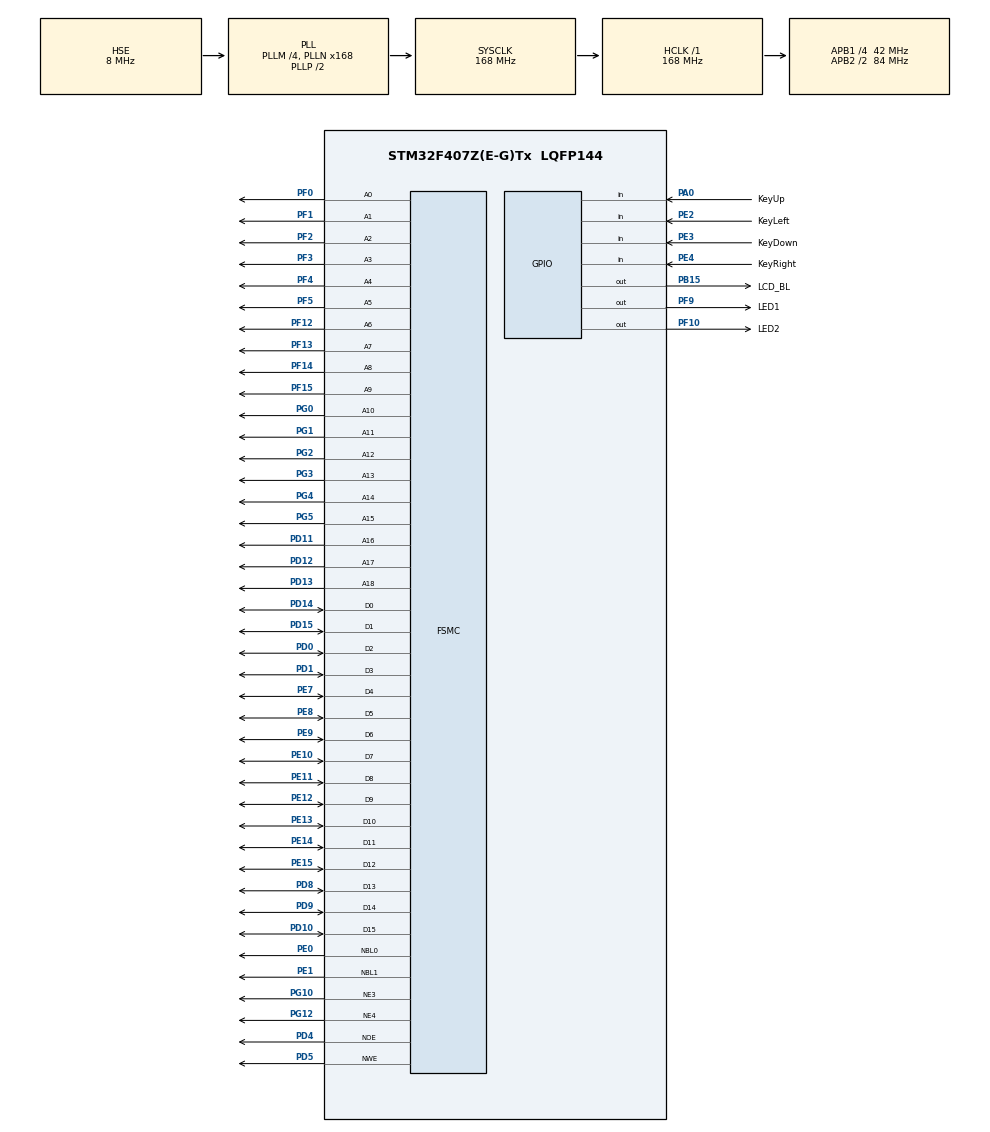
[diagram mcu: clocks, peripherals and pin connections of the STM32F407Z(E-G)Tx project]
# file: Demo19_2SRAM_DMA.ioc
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Dma.MEMTOMEM.0.Direction=DMA_MEMORY_TO_MEMORY
Dma.MEMTOMEM.0.FIFOMode=DMA_FIFOMODE_ENABLE
Dma.MEMTOMEM.0.FIFOThreshold=DMA_FIFO_THRESHOLD_FULL
Dma.MEMTOMEM.0.Instance=DMA2_Stream2
Dma.MEMTOMEM.0.MemBurst=DMA_MBURST_SINGLE
Dma.MEMTOMEM.0.MemDataAlignment=DMA_MDATAALIGN_WORD
Dma.MEMTOMEM.0.MemInc=DMA_MINC_ENABLE
Dma.MEMTOMEM.0.Mode=DMA_NORMAL
Dma.MEMTOMEM.0.PeriphBurst=DMA_PBURST_SINGLE
Dma.MEMTOMEM.0.PeriphDataAlignment=DMA_PDATAALIGN_WORD
Dma.MEMTOMEM.0.PeriphInc=DMA_PINC_ENABLE
Dma.MEMTOMEM.0.Priority=DMA_PRIORITY_HIGH
Dma.Request0=MEMTOMEM
FSMC.AddressSetupTime3=0
FSMC.AddressSetupTime4=2
FSMC.BusTurnAroundDuration3=0
FSMC.BusTurnAroundDuration4=0
FSMC.DataSetupTime3=8
FSMC.DataSetupTime4=16
FSMC.ExtendedAddressSetupTime4=4
FSMC.ExtendedBusTurnAroundDuration4=0
FSMC.ExtendedDataSetupTime4=9
FSMC.ExtendedMode4=FSMC_EXTENDED_MODE_ENABLE
FSMC.WriteOperation3=FSMC_WRITE_OPERATION_ENABLE
Mcu.Family=STM32F4
Mcu.Name=STM32F407Z(E-G)Tx
Mcu.Package=LQFP144
NVIC.DMA2_Stream2_IRQn=true\:1\:0\:true\:false\:true\:true\:true\:true
NVIC.PriorityGroup=NVIC_PRIORITYGROUP_4
PA0-WKUP.GPIO_Label=KeyUp
PA0-WKUP.GPIO_PuPd=GPIO_PULLDOWN
PA0-WKUP.Signal=GPIO_Input
PA13.Mode=Serial_Wire
PA13.Signal=SYS_JTMS-SWDIO
PA14.Mode=Serial_Wire
PA14.Signal=SYS_JTCK-SWCLK
PB15.GPIO_Label=LCD_BL
PB15.PinState=GPIO_PIN_RESET
PB15.Signal=GPIO_Output
PD0.Signal=FSMC_D2_DA2
PD1.Signal=FSMC_D3_DA3
PD10.Signal=FSMC_D15_DA15
PD11.Signal=FSMC_A16_CLE
PD12.Signal=FSMC_A17_ALE
PD13.Signal=FSMC_A18
PD14.Signal=FSMC_D0_DA0
PD15.Signal=FSMC_D1_DA1
PD4.Signal=FSMC_NOE
PD5.Signal=FSMC_NWE
PD8.Signal=FSMC_D13_DA13
PD9.Signal=FSMC_D14_DA14
PE0.Signal=FSMC_NBL0
PE1.Signal=FSMC_NBL1
PE10.Signal=FSMC_D7_DA7
PE11.Signal=FSMC_D8_DA8
PE12.Signal=FSMC_D9_DA9
PE13.Signal=FSMC_D10_DA10
PE14.Signal=FSMC_D11_DA11
PE15.Signal=FSMC_D12_DA12
PE2.GPIO_Label=KeyLeft
PE2.GPIO_PuPd=GPIO_PULLUP
PE2.Signal=GPIO_Input
PE3.GPIO_Label=KeyDown
PE3.GPIO_PuPd=GPIO_PULLUP
PE3.Signal=GPIO_Input
PE4.GPIO_Label=KeyRight
PE4.GPIO_PuPd=GPIO_PULLUP
PE4.Signal=GPIO_Input
PE7.Signal=FSMC_D4_DA4
PE8.Signal=FSMC_D5_DA5
PE9.Signal=FSMC_D6_DA6
PF0.Signal=FSMC_A0
PF1.Signal=FSMC_A1
PF10.GPIO_Label=LED2
PF10.PinState=GPIO_PIN_SET
PF10.Signal=GPIO_Output
PF12.Signal=FSMC_A6
PF13.Signal=FSMC_A7
PF14.Signal=FSMC_A8
PF15.Signal=FSMC_A9
PF2.Signal=FSMC_A2
PF3.Signal=FSMC_A3
PF4.Signal=FSMC_A4
PF5.Signal=FSMC_A5
PF9.GPIO_Label=LED1
PF9.PinState=GPIO_PIN_SET
PF9.Signal=GPIO_Output
PG0.Signal=FSMC_A10
PG1.Signal=FSMC_A11
PG10.Mode=NorPsramChipSelect3_3
PG10.Signal=FSMC_NE3
PG12.Mode=NorPsramChipSelect4_4
PG12.Signal=FSMC_NE4
PG2.Signal=FSMC_A12
PG3.Signal=FSMC_A13
PG4.Signal=FSMC_A14
PG5.Signal=FSMC_A15
PH0-OSC_IN.Mode=HSE-External-Oscillator
PH0-OSC_IN.Signal=RCC_OSC_IN
PH1-OSC_OUT.Mode=HSE-External-Oscillator
PH1-OSC_OUT.Signal=RCC_OSC_OUT
ProjectManager.HeapSize=0x200
ProjectManager.StackSize=0x400
ProjectManager.TargetToolchain=STM32CubeIDE
RCC.48MHZClocksFreq_Value=48000000
RCC.AHBFreq_Value=168000000
RCC.APB1CLKDivider=RCC_HCLK_DIV4
RCC.APB1Freq_Value=42000000
RCC.APB1TimFreq_Value=84000000
RCC.APB2CLKDivider=RCC_HCLK_DIV2
RCC.APB2Freq_Value=84000000
RCC.APB2TimFreq_Value=168000000
RCC.CortexFreq_Value=168000000
RCC.FLatency=FLASH_LATENCY_5
RCC.HCLKFreq_Value=168000000
RCC.HSE_VALUE=8000000
RCC.HSI_VALUE=16000000
RCC.LSE_VALUE=32768
RCC.PLLM=4
RCC.PLLN=168
RCC.PLLQ=7
RCC.PLLSourceVirtual=RCC_PLLSOURCE_HSE
RCC.SYSCLKFreq_VALUE=168000000
RCC.SYSCLKSource=RCC_SYSCLKSOURCE_PLLCLK
RCC.VCOOutputFreq_Value=336000000
SH.FSMC_A0.0=FSMC_A0,19b-a3
SH.FSMC_A1.0=FSMC_A1,19b-a3
SH.FSMC_A10.0=FSMC_A10,19b-a3
SH.FSMC_A11.0=FSMC_A11,19b-a3
SH.FSMC_A12.0=FSMC_A12,19b-a3
SH.FSMC_A13.0=FSMC_A13,19b-a3
SH.FSMC_A14.0=FSMC_A14,19b-a3
SH.FSMC_A15.0=FSMC_A15,19b-a3
SH.FSMC_A16_CLE.0=FSMC_A16,19b-a3
SH.FSMC_A17_ALE.0=FSMC_A17,19b-a3
SH.FSMC_A18.0=FSMC_A18,19b-a3
SH.FSMC_A2.0=FSMC_A2,19b-a3
SH.FSMC_A3.0=FSMC_A3,19b-a3
SH.FSMC_A4.0=FSMC_A4,19b-a3
SH.FSMC_A5.0=FSMC_A5,19b-a3
SH.FSMC_A6.0=FSMC_A6,A6_4
SH.FSMC_A6.1=FSMC_A6,19b-a3
SH.FSMC_A7.0=FSMC_A7,19b-a3
SH.FSMC_A8.0=FSMC_A8,19b-a3
SH.FSMC_A9.0=FSMC_A9,19b-a3
SH.FSMC_D0_DA0.0=FSMC_D0,16b-d4
SH.FSMC_D0_DA0.1=FSMC_D0,16b-d3
SH.FSMC_D10_DA10.0=FSMC_D10,16b-d4
SH.FSMC_D10_DA10.1=FSMC_D10,16b-d3
SH.FSMC_D11_DA11.0=FSMC_D11,16b-d4
SH.FSMC_D11_DA11.1=FSMC_D11,16b-d3
SH.FSMC_D12_DA12.0=FSMC_D12,16b-d4
SH.FSMC_D12_DA12.1=FSMC_D12,16b-d3
SH.FSMC_D13_DA13.0=FSMC_D13,16b-d4
SH.FSMC_D13_DA13.1=FSMC_D13,16b-d3
SH.FSMC_D14_DA14.0=FSMC_D14,16b-d4
SH.FSMC_D14_DA14.1=FSMC_D14,16b-d3
SH.FSMC_D15_DA15.0=FSMC_D15,16b-d4
SH.FSMC_D15_DA15.1=FSMC_D15,16b-d3
SH.FSMC_D1_DA1.0=FSMC_D1,16b-d4
SH.FSMC_D1_DA1.1=FSMC_D1,16b-d3
SH.FSMC_D2_DA2.0=FSMC_D2,16b-d4
SH.FSMC_D2_DA2.1=FSMC_D2,16b-d3
SH.FSMC_D3_DA3.0=FSMC_D3,16b-d4
SH.FSMC_D3_DA3.1=FSMC_D3,16b-d3
SH.FSMC_D4_DA4.0=FSMC_D4,16b-d4
SH.FSMC_D4_DA4.1=FSMC_D4,16b-d3
SH.FSMC_D5_DA5.0=FSMC_D5,16b-d4
SH.FSMC_D5_DA5.1=FSMC_D5,16b-d3
SH.FSMC_D6_DA6.0=FSMC_D6,16b-d4
SH.FSMC_D6_DA6.1=FSMC_D6,16b-d3
SH.FSMC_D7_DA7.0=FSMC_D7,16b-d4
SH.FSMC_D7_DA7.1=FSMC_D7,16b-d3
SH.FSMC_D8_DA8.0=FSMC_D8,16b-d4
SH.FSMC_D8_DA8.1=FSMC_D8,16b-d3
SH.FSMC_D9_DA9.0=FSMC_D9,16b-d4
SH.FSMC_D9_DA9.1=FSMC_D9,16b-d3
SH.FSMC_NBL0.0=FSMC_NBL0,2ByteEnable3
SH.FSMC_NBL1.0=FSMC_NBL1,2ByteEnable3
SH.FSMC_NOE.0=FSMC_NOE,Lcd4
SH.FSMC_NOE.1=FSMC_NOE,Sram3
SH.FSMC_NWE.0=FSMC_NWE,Lcd4
SH.FSMC_NWE.1=FSMC_NWE,Sram3
board=custom

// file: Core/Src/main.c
/* USER CODE BEGIN Header */
/**
  ******************************************************************************
  * @file           : main.c
  * @brief          : Main program body
  ******************************************************************************
  * @attention
  *
  * Copyright (c) 2023 STMicroelectronics.
  * All rights reserved.
  *
  * This software is licensed under terms that can be found in the LICENSE file
  * in the root directory of this software component.
  * If no LICENSE file comes with this software, it is provided AS-IS.
  *
  ******************************************************************************
  */
/* USER CODE END Header */
#include "main.h"
#include "dma.h"
#include "gpio.h"
#include "fsmc.h"

void SystemClock_Config(void);

int main(void)
{

  /* MCU Configuration--------------------------------------------------------*/

  /* Reset of all peripherals, Initializes the Flash interface and the Systick. */
  HAL_Init();

  /* Configure the system clock */
  SystemClock_Config();

  /* Initialize all configured peripherals */
  MX_GPIO_Init();
  MX_DMA_Init();
  MX_FSMC_Init();
  /* USER CODE BEGIN 2 */
  __HAL_LINKDMA(&hsram3, hdma, hdma_memtomem_dma2_stream2);
  lcd_init();
  lcd_show_str(10, 0 * 30 + 10, 24, "Demo19_2: External SRAM with DMA", RED);
  lcd_show_str(10, 1 * 30 + 10, 24, "Read/Write SRAM by DMA", RED);

  lcd_show_str(10, 3 * 30 + 10, 24, "[1]KeyUp    = Write directly", RED);
  lcd_show_str(10, 4 * 30 + 10, 24, "[2]KeyDown  = Write by DMA", RED);
  lcd_show_str(10, 5 * 30 + 10, 24, "[3]KeyRight = Read by DMA", RED);
  /* USER CODE END 2 */

  /* Infinite loop */
  /* USER CODE BEGIN WHILE */
  while (1)
  {
	  KEYS curkey = ScanPressedKey(KEY_WAIT_ALWAYS);
	  switch (curkey) {
	  case KEY_UP:
		  lcd_fill(10, 6 * 30 + 10, 479, 14 * 30 + 10, WHITE);
		  SRAM_WriteDirectly();
		  break;
	  case KEY_DOWN:
		  lcd_fill(10, 6 * 30 + 10, 479, 14 * 30 + 10, WHITE);
		  SRAM_WriteByDMA();
		  break;
	  case KEY_RIGHT:
		  lcd_fill(10, 6 * 30 + 10, 479, 14 * 30 + 10, WHITE);
		  SRAM_ReadByDMA();
		  break;
	  }
	  lcd_show_str(10, 13 * 30 + 10, 24, "** Reselect menu or reset **", RED);
	  HAL_Delay(500);
    /* USER CODE END WHILE */

  }
}

void SystemClock_Config(void)
{
  RCC_OscInitTypeDef RCC_OscInitStruct = {0};
  RCC_ClkInitTypeDef RCC_ClkInitStruct = {0};

  /** Configure the main internal regulator output voltage
  */
  __HAL_RCC_PWR_CLK_ENABLE();
  __HAL_PWR_VOLTAGESCALING_CONFIG(PWR_REGULATOR_VOLTAGE_SCALE1);

  /** Initializes the RCC Oscillators according to the specified parameters
  * in the RCC_OscInitTypeDef structure.
  */
  RCC_OscInitStruct.OscillatorType = RCC_OSCILLATORTYPE_HSE;
  RCC_OscInitStruct.HSEState = RCC_HSE_ON;
  RCC_OscInitStruct.PLL.PLLState = RCC_PLL_ON;
  RCC_OscInitStruct.PLL.PLLSource = RCC_PLLSOURCE_HSE;
  RCC_OscInitStruct.PLL.PLLM = 4;
  RCC_OscInitStruct.PLL.PLLN = 168;
  RCC_OscInitStruct.PLL.PLLP = RCC_PLLP_DIV2;
  RCC_OscInitStruct.PLL.PLLQ = 7;
  if (HAL_RCC_OscConfig(&RCC_OscInitStruct) != HAL_OK)
  {
    Error_Handler();
  }

  /** Initializes the CPU, AHB and APB buses clocks
  */
  RCC_ClkInitStruct.ClockType = RCC_CLOCKTYPE_HCLK|RCC_CLOCKTYPE_SYSCLK
                              |RCC_CLOCKTYPE_PCLK1|RCC_CLOCKTYPE_PCLK2;
  RCC_ClkInitStruct.SYSCLKSource = RCC_SYSCLKSOURCE_PLLCLK;
  RCC_ClkInitStruct.AHBCLKDivider = RCC_SYSCLK_DIV1;
  RCC_ClkInitStruct.APB1CLKDivider = RCC_HCLK_DIV4;
  RCC_ClkInitStruct.APB2CLKDivider = RCC_HCLK_DIV2;

  if (HAL_RCC_ClockConfig(&RCC_ClkInitStruct, FLASH_LATENCY_5) != HAL_OK)
  {
    Error_Handler();
  }
}

void Error_Handler(void)
{
  __disable_irq();
  while (1)
  {
  }
}
